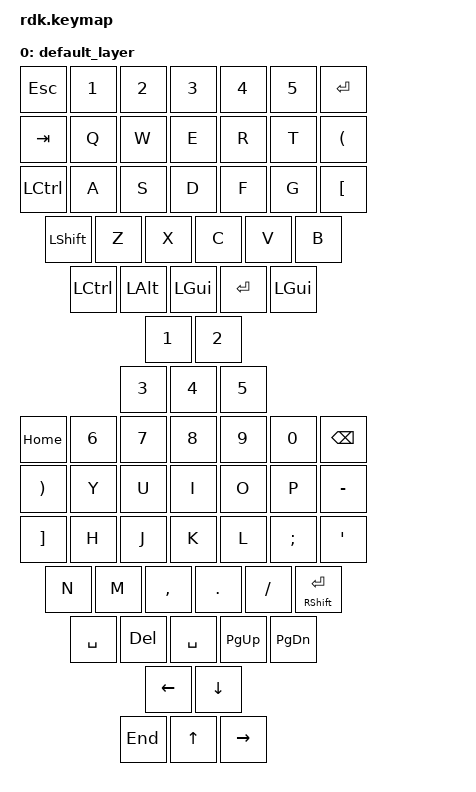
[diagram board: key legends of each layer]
#include <behaviors.dtsi>
#include <dt-bindings/zmk/keys.h>

/ {
    keymap {
        compatible =  "zmk,keymap" ;

        default_layer {
            bindings = <
    &kp ESC     &kp N1      &kp N2      &kp N3      &kp N4      &kp N5      &kp RET 
    &kp TAB     &kp Q       &kp W       &kp E       &kp R       &kp T       &kp LPAR
    &kp LCTRL   &kp A       &kp S       &kp D       &kp F       &kp G       &kp LBKT
    &kp LSHFT   &kp Z       &kp X       &kp C       &kp V       &kp B           
    &kp LCTRL   &kp LALT    &kp LGUI    &kp RET     &kp LGUI                    
                                                                &kp N1      &kp N2
                                                        &kp N3      &kp N4      &kp N5

        &kp HOME    &kp N6      &kp N7      &kp N8      &kp N9      &kp N0      &kp BSPC
        &kp RPAR    &kp Y       &kp U       &kp I       &kp O       &kp P       &kp MINUS
        &kp RBKT    &kp H       &kp J       &kp K       &kp L       &kp SEMI    &kp SQT
                    &kp N       &kp M       &kp COMMA   &kp DOT     &kp FSLH    &mt RSHFT RET
                                &kp SPACE   &kp DEL     &kp SPACE   &kp PG_UP   &kp PG_DN
        &kp LEFT    &kp DOWN    
    &kp END     &kp UP      &kp RIGHT
            >;

        };
    };
};
 
